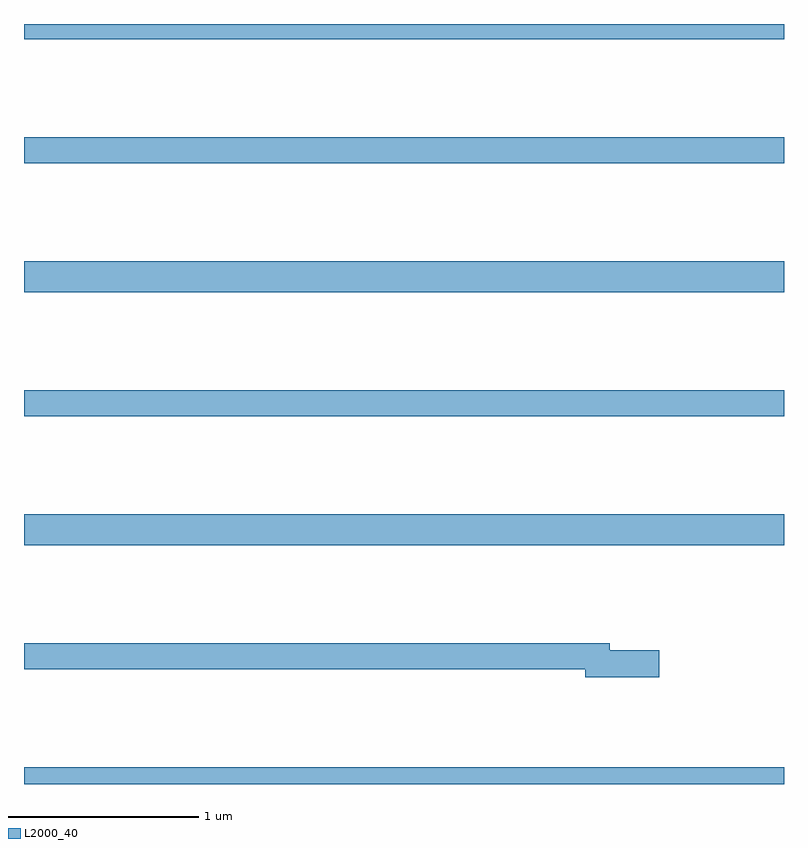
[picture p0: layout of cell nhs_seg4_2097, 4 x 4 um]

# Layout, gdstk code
import gdstk
lib = gdstk.Library(unit=1e-6, precision=1e-09)
def R(c, l, rs):  # rectangles x0, y0, x1, y1
    for r in rs: c.add(gdstk.rectangle(r[:2], r[2:], *l))
def P(c, l, *ps):  # polygons
    for p in ps: c.add(gdstk.Polygon(p, *l))
L2000_40 = (2000, 40)

nhs_seg4_2097 = lib.new_cell('nhs_seg4_2097')
R(nhs_seg4_2097, L2000_40, [(219,792.9,223,792.988), (219,794.156,223,794.32), (219,794.836,223,794.972), (219,795.488,223,795.652), (219,796.168,223,796.304), (219,796.82,223,796.9)])
P(nhs_seg4_2097, L2000_40, [(222.343,793.604),(222.082,793.604),(222.082,793.64),(219,793.64),(219,793.504),(221.954,793.504),(221.954,793.462),(222.343,793.462)])

lib.write_gds('nhs_seg4_2097.gds')
